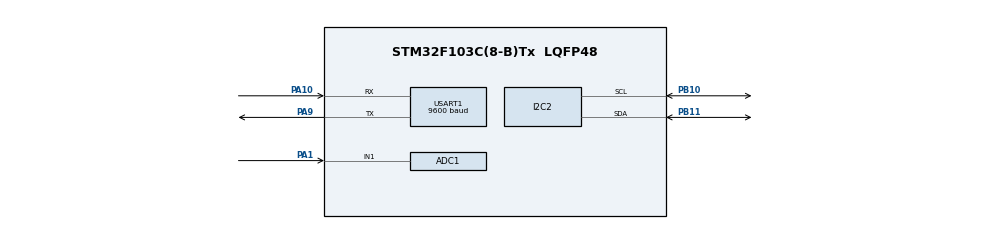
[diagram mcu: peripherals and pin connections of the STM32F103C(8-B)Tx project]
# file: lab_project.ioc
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ADC1.Channel-0\#ChannelRegularConversion=ADC_CHANNEL_1
ADC1.ContinuousConvMode=ENABLE
ADC1.NbrOfConversionFlag=1
ADC1.Rank-0\#ChannelRegularConversion=1
ADC1.SamplingTime-0\#ChannelRegularConversion=ADC_SAMPLETIME_239CYCLES_5
ADC1.master=1
Mcu.Family=STM32F1
Mcu.Name=STM32F103C(8-B)Tx
Mcu.Package=LQFP48
NVIC.ADC1_2_IRQn=true\:0\:0\:false\:false\:true\:true\:true
NVIC.I2C2_EV_IRQn=true\:0\:0\:false\:false\:true\:true\:true
NVIC.PriorityGroup=NVIC_PRIORITYGROUP_4
NVIC.TIM3_IRQn=true\:0\:0\:false\:false\:true\:true\:true
NVIC.TIM4_IRQn=true\:0\:0\:false\:false\:true\:true\:true
NVIC.USART1_IRQn=true\:0\:0\:false\:false\:true\:true\:true
PA1.Signal=ADCx_IN1
PA10.Mode=Asynchronous
PA10.Signal=USART1_RX
PA13.Mode=Serial_Wire
PA13.Signal=SYS_JTMS-SWDIO
PA14.Mode=Serial_Wire
PA14.Signal=SYS_JTCK-SWCLK
PA9.Mode=Asynchronous
PA9.Signal=USART1_TX
PB10.Mode=I2C
PB10.Signal=I2C2_SCL
PB11.Mode=I2C
PB11.Signal=I2C2_SDA
ProjectManager.HeapSize=0x200
ProjectManager.StackSize=0x400
ProjectManager.TargetToolchain=MDK-ARM V5.27
RCC.APB1Freq_Value=8000000
RCC.APB2Freq_Value=8000000
SH.ADCx_IN1.0=ADC1_IN1,IN1
TIM3.Period=999
TIM3.Prescaler=23999
TIM4.Period=999
TIM4.Prescaler=63999
USART1.BaudRate=9600
USART1.VirtualMode=VM_ASYNC
VP_TIM3_VS_ClockSourceINT.Mode=Internal
VP_TIM4_VS_ClockSourceINT.Mode=Internal
board=custom

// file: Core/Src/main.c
/* USER CODE BEGIN Header */
/**
  ******************************************************************************
  * @file           : main.c
  * @brief          : Main program body
  ******************************************************************************
  * @attention
  *
  * <h2><center>&copy; Copyright (c) 2021 STMicroelectronics.
  * All rights reserved.</center></h2>
  *
  * This software component is licensed by ST under BSD 3-Clause license,
  * the "License"; You may not use this file except in compliance with the
  * License. You may obtain a copy of the License at:
  *                        opensource.org/licenses/BSD-3-Clause
  *
  ******************************************************************************
  */
/* USER CODE END Header */
#include "main.h"

/* USER CODE BEGIN Includes */
#include "at24c256.h"
#include <ctype.h>
#include <stdio.h>
#include <string.h>
#include <stdlib.h>
/* USER CODE END Includes */

/* USER CODE BEGIN PD */
#define device_address 0xA0
/* USER CODE END PD */

ADC_HandleTypeDef hadc1;

I2C_HandleTypeDef hi2c2;

TIM_HandleTypeDef htim3;
TIM_HandleTypeDef htim4;

UART_HandleTypeDef huart1;

/* USER CODE BEGIN PV */
HAL_StatusTypeDef ret;
uint8_t retval[100];
uint8_t seriData[100];
uint16_t pointerOfEeprom = 0;
char eepromTransmit[1000];  // eprom max nr of cell is 32768 * 8 but we don't need it.
int lenStr;
char transmitData[1000];
int res;
char resCalculation[50];

/* USER CODE END PV */

void SystemClock_Config(void);
static void MX_GPIO_Init(void);
static void MX_I2C2_Init(void);
static void MX_TIM3_Init(void);
static void MX_ADC1_Init(void);
static void MX_TIM4_Init(void);
static void MX_USART1_UART_Init(void);
/* USER CODE BEGIN PFP */
void flushUintMn(uint8_t *base, int size);
int resultOfCalculation(char *seriData);
/* USER CODE END PFP */

int main(void)
{

  /* MCU Configuration--------------------------------------------------------*/

  /* Reset of all peripherals, Initializes the Flash interface and the Systick. */
  HAL_Init();

  /* Configure the system clock */
  SystemClock_Config();

  /* Initialize all configured peripherals */
  MX_GPIO_Init();
  MX_I2C2_Init();
  MX_TIM3_Init();
  MX_ADC1_Init();
  MX_TIM4_Init();
  MX_USART1_UART_Init();
  /* USER CODE BEGIN 2 */
	HAL_TIM_Base_Start_IT(&htim3);
	HAL_TIM_Base_Start_IT(&htim4);
	HAL_ADC_Start_IT(&hadc1);
	__HAL_UART_ENABLE_IT(&huart1, UART_IT_RXNE);
  /* USER CODE END 2 */

  /* Infinite loop */
  /* USER CODE BEGIN WHILE */
  while (1)
  {
		if(lenStr > 0) {
			HAL_UART_Transmit(&huart1, (uint8_t*)transmitData, lenStr, 1000);
			transmitData[0] = '\0';
			lenStr = 0;
		}

		if(seriData[0] == 'R'){
			// SEND DATA FROM EEPROM,

			for(int i=0; i<pointerOfEeprom; i++){
				char eepromData[10];
				char res = _readEEPROM(&hi2c2, 0xA0, i);
				snprintf(eepromData, sizeof(eepromData), "%c#", res);
				strcat(eepromTransmit, eepromData);
			}
			pointerOfEeprom = 0;
			int sizeOfEeprom = strlen(eepromTransmit);
			//HAL_UART_Transmit_IT(&huart1, (uint8_t*) &eepromTransmit, sizeOfEeprom);
			HAL_UART_Transmit(&huart1, (uint8_t*)eepromTransmit, sizeOfEeprom, 1000);
			eepromTransmit[0] = '\0';

			seriData[0] = 0x00;
		}

		if (isdigit(seriData[0]) != 0)
    {
        res = resultOfCalculation((char*)seriData);
				sprintf(resCalculation, "Calculation: %d", res);
				HAL_UART_Transmit(&huart1, (uint8_t*)resCalculation, strlen(resCalculation), 1000);

				seriData[0] = '\0';
    }

    /* USER CODE END WHILE */

  }
}

void SystemClock_Config(void)
{
  RCC_OscInitTypeDef RCC_OscInitStruct = {0};
  RCC_ClkInitTypeDef RCC_ClkInitStruct = {0};
  RCC_PeriphCLKInitTypeDef PeriphClkInit = {0};

  /** Initializes the RCC Oscillators according to the specified parameters
  * in the RCC_OscInitTypeDef structure.
  */
  RCC_OscInitStruct.OscillatorType = RCC_OSCILLATORTYPE_HSI;
  RCC_OscInitStruct.HSIState = RCC_HSI_ON;
  RCC_OscInitStruct.HSICalibrationValue = RCC_HSICALIBRATION_DEFAULT;
  RCC_OscInitStruct.PLL.PLLState = RCC_PLL_NONE;
  if (HAL_RCC_OscConfig(&RCC_OscInitStruct) != HAL_OK)
  {
    Error_Handler();
  }
  /** Initializes the CPU, AHB and APB buses clocks
  */
  RCC_ClkInitStruct.ClockType = RCC_CLOCKTYPE_HCLK|RCC_CLOCKTYPE_SYSCLK
                              |RCC_CLOCKTYPE_PCLK1|RCC_CLOCKTYPE_PCLK2;
  RCC_ClkInitStruct.SYSCLKSource = RCC_SYSCLKSOURCE_HSI;
  RCC_ClkInitStruct.AHBCLKDivider = RCC_SYSCLK_DIV1;
  RCC_ClkInitStruct.APB1CLKDivider = RCC_HCLK_DIV1;
  RCC_ClkInitStruct.APB2CLKDivider = RCC_HCLK_DIV1;

  if (HAL_RCC_ClockConfig(&RCC_ClkInitStruct, FLASH_LATENCY_0) != HAL_OK)
  {
    Error_Handler();
  }
  PeriphClkInit.PeriphClockSelection = RCC_PERIPHCLK_ADC;
  PeriphClkInit.AdcClockSelection = RCC_ADCPCLK2_DIV2;
  if (HAL_RCCEx_PeriphCLKConfig(&PeriphClkInit) != HAL_OK)
  {
    Error_Handler();
  }
}

static void MX_ADC1_Init(void)
{

  ADC_ChannelConfTypeDef sConfig = {0};

  /** Common config
  */
  hadc1.Instance = ADC1;
  hadc1.Init.ScanConvMode = ADC_SCAN_DISABLE;
  hadc1.Init.ContinuousConvMode = ENABLE;
  hadc1.Init.DiscontinuousConvMode = DISABLE;
  hadc1.Init.ExternalTrigConv = ADC_SOFTWARE_START;
  hadc1.Init.DataAlign = ADC_DATAALIGN_RIGHT;
  hadc1.Init.NbrOfConversion = 1;
  if (HAL_ADC_Init(&hadc1) != HAL_OK)
  {
    Error_Handler();
  }
  /** Configure Regular Channel
  */
  sConfig.Channel = ADC_CHANNEL_1;
  sConfig.Rank = ADC_REGULAR_RANK_1;
  sConfig.SamplingTime = ADC_SAMPLETIME_239CYCLES_5;
  if (HAL_ADC_ConfigChannel(&hadc1, &sConfig) != HAL_OK)
  {
    Error_Handler();
  }

}

static void MX_I2C2_Init(void)
{

  hi2c2.Instance = I2C2;
  hi2c2.Init.ClockSpeed = 100000;
  hi2c2.Init.DutyCycle = I2C_DUTYCYCLE_2;
  hi2c2.Init.OwnAddress1 = 0;
  hi2c2.Init.AddressingMode = I2C_ADDRESSINGMODE_7BIT;
  hi2c2.Init.DualAddressMode = I2C_DUALADDRESS_DISABLE;
  hi2c2.Init.OwnAddress2 = 0;
  hi2c2.Init.GeneralCallMode = I2C_GENERALCALL_DISABLE;
  hi2c2.Init.NoStretchMode = I2C_NOSTRETCH_DISABLE;
  if (HAL_I2C_Init(&hi2c2) != HAL_OK)
  {
    Error_Handler();
  }

}

static void MX_TIM3_Init(void)
{

  TIM_ClockConfigTypeDef sClockSourceConfig = {0};
  TIM_MasterConfigTypeDef sMasterConfig = {0};

  htim3.Instance = TIM3;
  htim3.Init.Prescaler = 23999;
  htim3.Init.CounterMode = TIM_COUNTERMODE_UP;
  htim3.Init.Period = 999;
  htim3.Init.ClockDivision = TIM_CLOCKDIVISION_DIV1;
  htim3.Init.AutoReloadPreload = TIM_AUTORELOAD_PRELOAD_DISABLE;
  if (HAL_TIM_Base_Init(&htim3) != HAL_OK)
  {
    Error_Handler();
  }
  sClockSourceConfig.ClockSource = TIM_CLOCKSOURCE_INTERNAL;
  if (HAL_TIM_ConfigClockSource(&htim3, &sClockSourceConfig) != HAL_OK)
  {
    Error_Handler();
  }
  sMasterConfig.MasterOutputTrigger = TIM_TRGO_RESET;
  sMasterConfig.MasterSlaveMode = TIM_MASTERSLAVEMODE_DISABLE;
  if (HAL_TIMEx_MasterConfigSynchronization(&htim3, &sMasterConfig) != HAL_OK)
  {
    Error_Handler();
  }

}

static void MX_TIM4_Init(void)
{

  TIM_ClockConfigTypeDef sClockSourceConfig = {0};
  TIM_MasterConfigTypeDef sMasterConfig = {0};

  htim4.Instance = TIM4;
  htim4.Init.Prescaler = 63999;
  htim4.Init.CounterMode = TIM_COUNTERMODE_UP;
  htim4.Init.Period = 999;
  htim4.Init.ClockDivision = TIM_CLOCKDIVISION_DIV1;
  htim4.Init.AutoReloadPreload = TIM_AUTORELOAD_PRELOAD_DISABLE;
  if (HAL_TIM_Base_Init(&htim4) != HAL_OK)
  {
    Error_Handler();
  }
  sClockSourceConfig.ClockSource = TIM_CLOCKSOURCE_INTERNAL;
  if (HAL_TIM_ConfigClockSource(&htim4, &sClockSourceConfig) != HAL_OK)
  {
    Error_Handler();
  }
  sMasterConfig.MasterOutputTrigger = TIM_TRGO_RESET;
  sMasterConfig.MasterSlaveMode = TIM_MASTERSLAVEMODE_DISABLE;
  if (HAL_TIMEx_MasterConfigSynchronization(&htim4, &sMasterConfig) != HAL_OK)
  {
    Error_Handler();
  }

}

static void MX_USART1_UART_Init(void)
{

  huart1.Instance = USART1;
  huart1.Init.BaudRate = 9600;
  huart1.Init.WordLength = UART_WORDLENGTH_8B;
  huart1.Init.StopBits = UART_STOPBITS_1;
  huart1.Init.Parity = UART_PARITY_NONE;
  huart1.Init.Mode = UART_MODE_TX_RX;
  huart1.Init.HwFlowCtl = UART_HWCONTROL_NONE;
  huart1.Init.OverSampling = UART_OVERSAMPLING_16;
  if (HAL_UART_Init(&huart1) != HAL_OK)
  {
    Error_Handler();
  }

}

static void MX_GPIO_Init(void)
{

  /* GPIO Ports Clock Enable */
  __HAL_RCC_GPIOA_CLK_ENABLE();
  __HAL_RCC_GPIOB_CLK_ENABLE();

}

/* USER CODE BEGIN 4 */
void flushUintMn(uint8_t *base, int size){
	int i;
	for(i = 0; i< size; i++){
		*(base + i) = 0x00;
	}
}

int resultOfCalculation(char *seriData)
{
    if (isdigit(seriData[0]) != 0)
    {
        int size = strlen((char *)seriData);
        int p = 0, customFlag = 0;
        char number1[10], number2[10], operand = '\n';
        for (int i = 0; i < size; i++)
        {
            if (isdigit(seriData[i]) != 0 && customFlag == 0)
            {
                number1[p] = seriData[i];
                p++;
            }
            else if (operand == '\n')
            {
                operand = seriData[i];
                customFlag = 100;
                p = 0;
                continue;
            }

            if (isdigit(seriData[i]) != 0 && customFlag > 0)
            {
                number2[p] = seriData[i];
                p++;
            }
        }

        int a = atoi(number1);
        int b = atoi(number2);
        int result = 0;
        if (operand == '+')
        {
            result = a + b;
        }
        else if (operand == '-')
        {
            result = a - b;
        }
        else if (operand == '*')
        {
            result = a * b;
        }
        else if (operand == '/')
        {
            result = a / b;
        }
        else
        {
            // nothing
        }

        return result;
    }

		return 0;
}
/* USER CODE END 4 */

void Error_Handler(void)
{
  __disable_irq();
  while (1)
  {
  }
}

/************************ (C) COPYRIGHT STMicroelectronics *****END OF FILE****/
